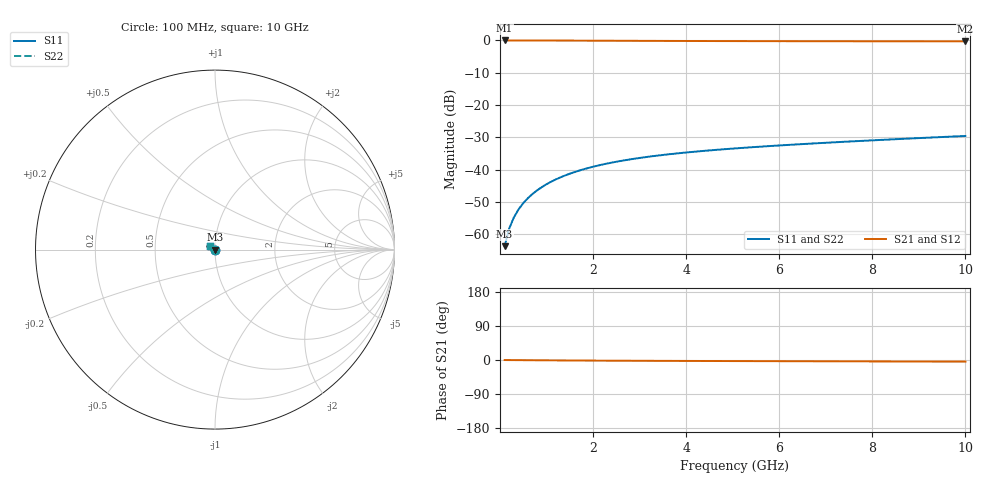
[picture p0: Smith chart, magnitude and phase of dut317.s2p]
! Touchstone file exported from HFSS 2024.1.0
!  File:  C:/UserFiles/LocalFiles/RDL_TSV_Batchsim/temp_TSV1_317_1779616597.aedt
!  Generated:  06:02:49 PM May 24, 2026
!  Design:  TSV1
!  Project:  temp_TSV1_317_1779616597
!  Setup:  Setup1
!  Solution:  Sweep
! Variables:
!  dtsv = 6.99um
!  hbump = 3um
!  htsv = 62.13um
!  lrdl = 252.1521522um
!  p = 40
!  p1 = 53.25um
!  t = 500um
!  trdl = 3um
!  wrdl = 24.89489489um
# GHz S MA R 50.000000
! Terminal data exported
! Port[1] = TSV22_T1
! Port[2] = TSV22_T2
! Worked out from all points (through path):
!   100 points, 100 MHz to 10 GHz, reference 50 ohm
!   highest |S21| = 0.00 dB at 100 MHz (marker M1); lowest = -0.3 dB at 10 GHz (marker M2)
!   lowest |S11| = -63.6 dB at 100 MHz (marker M3), VSWR 1.00, Z = 50 - j0.0619 ohm
!   |S11| at or under -10 dB: start of sweep to end of sweep
!   |S22| runs from -63.6 to -29.5 dB; largest |S21 - S12| = 3.2e-15
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0.1  0.0006595 -69.8  0.9997 -0.1  0.9997 -0.1  0.0006595 -69.8
! Gamma 0 0 0 0
! Port Impedance 50 0 50 0
0.2  0.001244 -83.0  0.9996 -0.2  0.9996 -0.2  0.001244 -83.0
0.3  0.001843 -89.2  0.9995 -0.3  0.9995 -0.3  0.001843 -89.2
0.4  0.002444 -93.4  0.9993 -0.4  0.9993 -0.4  0.002444 -93.4
0.5  0.003045 -96.9  0.9991 -0.5  0.9991 -0.5  0.003045 -96.9
0.6  0.003642 -99.9  0.9988 -0.5  0.9988 -0.5  0.003642 -99.9
0.7  0.004236 -102.7  0.9985 -0.6  0.9985 -0.6  0.004235 -102.7
0.8  0.004823 -105.4  0.9981 -0.7  0.9981 -0.7  0.004823 -105.4
0.9  0.005404 -107.9  0.9977 -0.8  0.9977 -0.8  0.005404 -107.9
1.1  0.006541 -112.6  0.9968 -0.9  0.9968 -0.9  0.006541 -112.6
1.4  0.008175 -119.3  0.9953 -1.2  0.9953 -1.2  0.008175 -119.3
1.6  0.009212 -123.5  0.9942 -1.3  0.9942 -1.3  0.009212 -123.5
1.8  0.0102 -127.5  0.9931 -1.4  0.9931 -1.4  0.0102 -127.5
2.1  0.01161 -133.3  0.9913 -1.6  0.9913 -1.6  0.01161 -133.3
2.5  0.01332 -140.5  0.989 -1.8  0.989 -1.8  0.01332 -140.5
2.9  0.01488 -147.2  0.9867 -2.0  0.9867 -2.0  0.01488 -147.2
3.4  0.01663 -154.9  0.984 -2.3  0.984 -2.3  0.01663 -154.9
4.2  0.0191 -165.7  0.9804 -2.5  0.9804 -2.5  0.0191 -165.7
5.1  0.02154 -176.1  0.9771 -2.8  0.9771 -2.8  0.02154 -176.1
6.7  0.02546 169.1  0.973 -3.3  0.973 -3.3  0.02546 169.1
8.4  0.02949 157.0  0.9701 -3.8  0.9701 -3.8  0.02949 157.0
10  0.03335 148.0  0.9682 -4.3  0.9682 -4.3  0.03335 148.0
